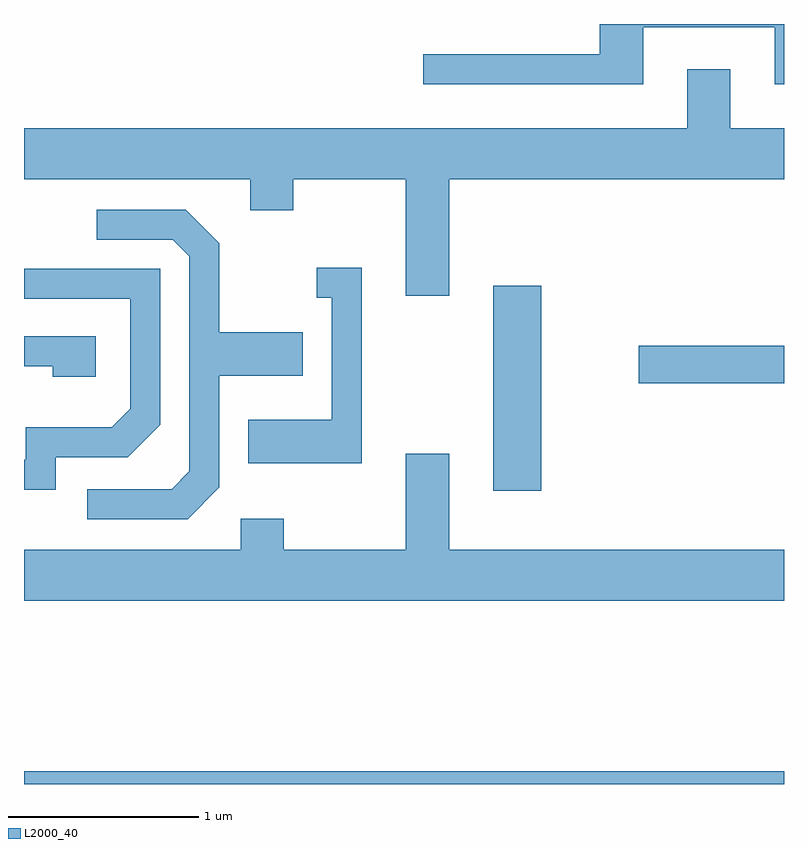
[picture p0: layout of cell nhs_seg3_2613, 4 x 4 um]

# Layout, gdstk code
import gdstk
lib = gdstk.Library(unit=1e-6, precision=1e-09)
def R(c, l, rs):  # rectangles x0, y0, x1, y1
    for r in rs: c.add(gdstk.rectangle(r[:2], r[2:], *l))
def P(c, l, *ps):  # polygons
    for p in ps: c.add(gdstk.Polygon(p, *l))
L2000_40 = (2000, 40)

nhs_seg3_2613 = lib.new_cell('nhs_seg3_2613')
R(nhs_seg3_2613, L2000_40, [(261.611,1173.892,265.611,1173.959), (264.081,1175.436,264.334,1176.514), (264.846,1176.001,265.611,1176.199)])
P(nhs_seg3_2613, L2000_40, [(264.869,1177.876),(265.561,1177.876),(265.561,1177.576),(265.611,1177.576),(265.611,1177.892),(264.641,1177.892),(264.641,1177.734),(263.713,1177.734),(263.713,1177.576),(264.869,1177.576)],
  [(263.849,1177.076),(265.611,1177.076),(265.611,1177.344),(265.329,1177.344),(265.329,1177.654),(265.101,1177.654),(265.101,1177.344),(261.611,1177.344),(261.611,1177.076),(262.801,1177.076),(262.801,1176.911),(263.029,1176.911),(263.029,1177.076),(263.621,1177.076),(263.621,1176.461),(263.849,1176.461)],
  [(262.639,1175.454),(262.639,1176.041),(263.079,1176.041),(263.079,1176.269),(262.639,1176.269),(262.639,1176.737),(262.462,1176.914),(261.993,1176.914),(261.993,1176.756),(262.394,1176.756),(262.481,1176.669),(262.481,1175.537),(262.389,1175.444),(261.943,1175.444),(261.943,1175.286),(262.472,1175.286)],
  [(263.389,1176.609),(263.153,1176.609),(263.153,1176.451),(263.231,1176.451),(263.231,1175.809),(262.791,1175.809),(262.791,1175.581),(263.389,1175.581)],
  [(261.779,1175.611),(262.157,1175.611),(262.329,1175.784),(262.329,1176.604),(261.611,1176.604),(261.611,1176.446),(262.171,1176.446),(262.171,1175.867),(262.074,1175.769),(261.621,1175.769),(261.621,1175.599),(261.611,1175.599),(261.611,1175.441),(261.779,1175.441)],
  [(261.989,1176.249),(261.611,1176.249),(261.611,1176.091),(261.761,1176.091),(261.761,1176.036),(261.989,1176.036)],
  [(265.611,1175.124),(263.849,1175.124),(263.849,1175.629),(263.621,1175.629),(263.621,1175.124),(262.979,1175.124),(262.979,1175.289),(262.751,1175.289),(262.751,1175.124),(261.611,1175.124),(261.611,1174.856),(265.611,1174.856)])

lib.write_gds('nhs_seg3_2613.gds')
